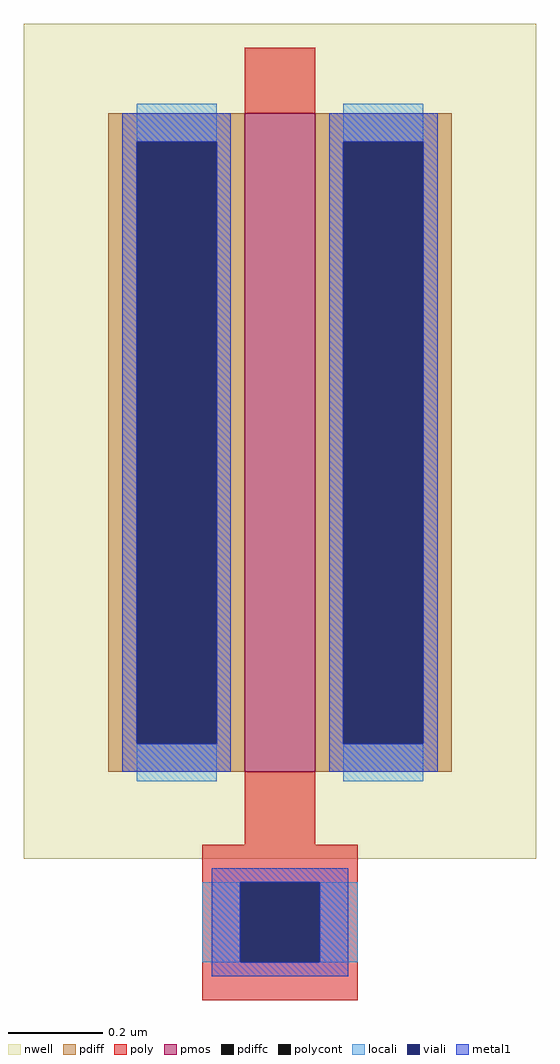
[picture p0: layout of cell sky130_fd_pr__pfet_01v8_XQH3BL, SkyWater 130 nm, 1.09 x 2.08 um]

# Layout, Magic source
magic
tech sky130A
magscale 1 2
<< nwell >>
rect -109 -177 109 178
<< pmos >>
rect -15 -140 15 140
<< pdiff >>
rect -73 128 -15 140
rect -73 -128 -61 128
rect -27 -128 -15 128
rect -73 -140 -15 -128
rect 15 128 73 140
rect 15 -128 27 128
rect 61 -128 73 128
rect 15 -140 73 -128
<< pdiffc >>
rect -61 -128 -27 128
rect 27 -128 61 128
<< poly >>
rect -15 140 15 168
rect -15 -171 15 -140
rect -33 -187 33 -171
rect -33 -221 -17 -187
rect 17 -221 33 -187
rect -33 -237 33 -221
<< polycont >>
rect -17 -221 17 -187
<< locali >>
rect -61 128 -27 144
rect -61 -144 -27 -128
rect 27 128 61 144
rect 27 -144 61 -128
rect -33 -221 -17 -187
rect 17 -221 33 -187
<< viali >>
rect -61 -128 -27 128
rect 27 -128 61 128
rect -17 -221 17 -187
<< metal1 >>
rect -67 128 -21 140
rect -67 -128 -61 128
rect -27 -128 -21 128
rect -67 -140 -21 -128
rect 21 128 67 140
rect 21 -128 27 128
rect 61 -128 67 128
rect 21 -140 67 -128
rect -29 -187 29 -181
rect -29 -221 -17 -187
rect 17 -221 29 -187
rect -29 -227 29 -221
<< properties >>
string FIXED_BBOX -158 -306 158 306
string gencell sky130_fd_pr__pfet_01v8
string library sky130
string parameters w 1.4 l 0.15 m 1 nf 1 diffcov 100 polycov 100 guard 1 glc 1 grc 1 gtc 1 gbc 1 tbcov 100 rlcov 100 topc 1 botc 1 poverlap 0 doverlap 1 lmin 0.15 wmin 0.42 compatible {sky130_fd_pr__pfet_01v8  sky130_fd_pr__pfet_01v8_lvt sky130_fd_pr__pfet_01v8_hvt  sky130_fd_pr__pfet_g5v0d10v5} full_metal 1 viasrc 100 viadrn 100 viagate 100 viagb 0 viagr 0 viagl 0 viagt 0
<< end >>
